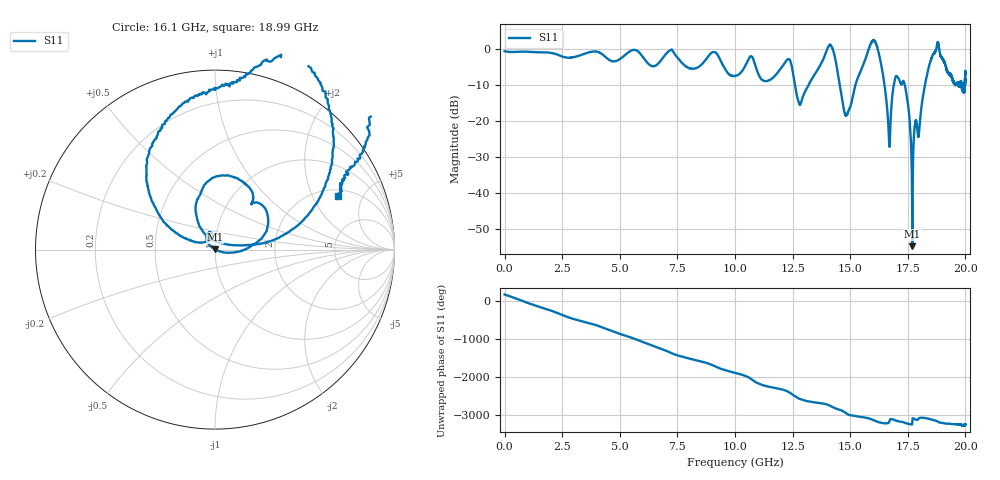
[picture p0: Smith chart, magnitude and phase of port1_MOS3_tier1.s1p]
! Created with skrf 1.8.0 (http://scikit-rf.org).
# GHz S RI R 50.0
!freq ReS11 ImS11
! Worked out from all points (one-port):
!   10001 points, 1 MHz to 20 GHz, reference 50 ohm
!   lowest |S11| = -54.8 dB at 17.7 GHz (marker M1), VSWR 1.00, Z = 50 + j0.176 ohm
!   |S11| at or under -10 dB: 12.6 GHz to 13.19 GHz (587.3 MHz wide, 4.55 % of centre); 14.55 GHz to 15.23 GHz (677.7 MHz wide, 4.55 % of centre); 17.37 GHz to 18.24 GHz (870.3 MHz wide, 4.89 % of centre) (the widest 3 of 23)
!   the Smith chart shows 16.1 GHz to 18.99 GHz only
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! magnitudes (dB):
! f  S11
! 1 MHz  -0.6
! 2.501 GHz  -2.0
! 5.001 GHz  -2.8
! 7.501 GHz  -2.3
! 8.217 GHz  -5.4
! 9.111 GHz  -0.8
! 10 GHz  -7.5
! 10.69 GHz  -1.9
! 11.26 GHz  -8.8
! 12.29 GHz  -2.8
! 12.5 GHz  -5.9
! 12.84 GHz  -15.4
! 14.15 GHz  1.2
! 14.76 GHz  -17.8
! 15 GHz  -16.1
! 16.01 GHz  2.4
! 16.35 GHz  -4.6
! 16.68 GHz  -24.0
! 17.01 GHz  -7.6
! 17.34 GHz  -9.3
! 17.5 GHz  -14.9
! 17.63 GHz  -24.1
! 17.7 GHz  -54.8
! 17.83 GHz  -20.3
! 18.36 GHz  -6.5
! 18.74 GHz  0.3
! 19.53 GHz  -9.5
! 20 GHz  -7.0
